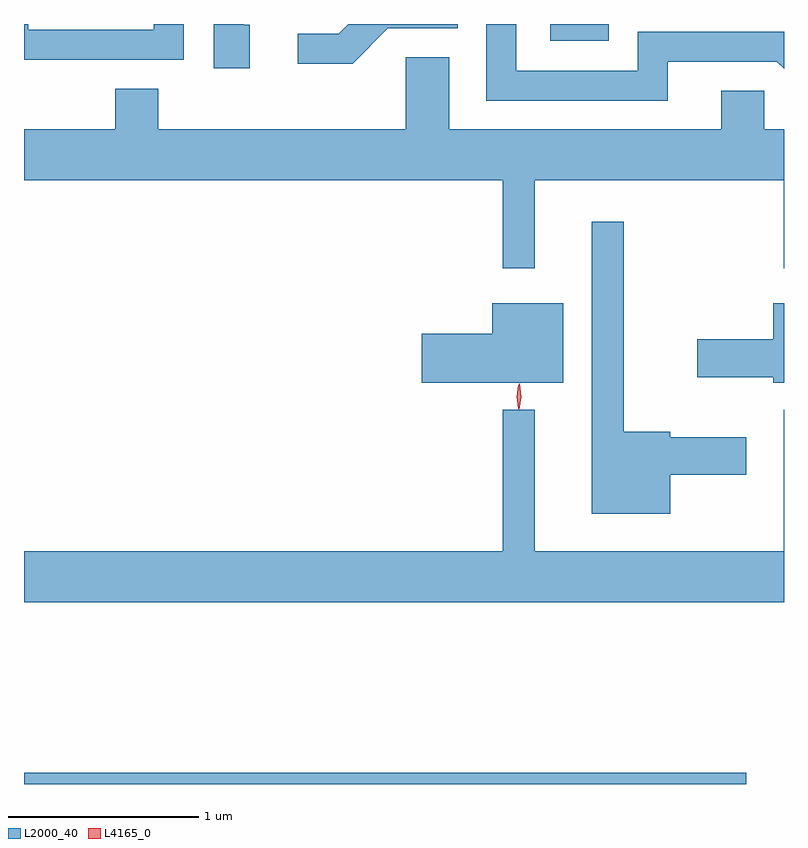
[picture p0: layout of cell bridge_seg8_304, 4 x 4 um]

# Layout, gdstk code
import gdstk
lib = gdstk.Library(unit=1e-6, precision=1e-09)
def R(c, l, rs):  # rectangles x0, y0, x1, y1
    for r in rs: c.add(gdstk.rectangle(r[:2], r[2:], *l))
def P(c, l, *ps):  # polygons
    for p in ps: c.add(gdstk.Polygon(p, *l))
L2000_40 = (2000, 40)
L4165_0 = (4165, 0)

bridge_seg8_304 = lib.new_cell('bridge_seg8_304')
R(bridge_seg8_304, L2000_40, [(1004.262,1908.719,1008.064,1908.779), (1007.031,1912.631,1007.339,1912.719)])
P(bridge_seg8_304, L2000_40, [(1006.177,1912.696),(1006.544,1912.696),(1006.544,1912.719),(1005.969,1912.719),(1005.919,1912.669),(1005.703,1912.669),(1005.703,1912.511),(1005.992,1912.511)],
  [(1005.104,1912.719),(1004.946,1912.719),(1004.946,1912.689),(1004.284,1912.689),(1004.284,1912.719),(1004.262,1912.719),(1004.262,1912.531),(1005.104,1912.531)],
  [(1005.449,1912.714),(1005.419,1912.714),(1005.419,1912.719),(1005.261,1912.719),(1005.261,1912.486),(1005.449,1912.486)],
  [(1007.649,1912.521),(1008.224,1912.521),(1008.262,1912.483),(1008.262,1912.679),(1007.491,1912.679),(1007.491,1912.474),(1006.854,1912.474),(1006.854,1912.719),(1006.696,1912.719),(1006.696,1912.316),(1007.649,1912.316)],
  [(1006.949,1911.896),(1008.261,1911.896),(1008.261,1911.433),(1008.262,1911.433),(1008.262,1912.164),(1008.159,1912.164),(1008.159,1912.369),(1007.931,1912.369),(1007.931,1912.164),(1006.499,1912.164),(1006.499,1912.544),(1006.271,1912.544),(1006.271,1912.164),(1004.969,1912.164),(1004.969,1912.379),(1004.741,1912.379),(1004.741,1912.164),(1004.262,1912.164),(1004.262,1911.896),(1006.781,1911.896),(1006.781,1911.433),(1006.949,1911.433)],
  [(1007.664,1910.346),(1008.064,1910.346),(1008.064,1910.544),(1007.664,1910.544),(1007.664,1910.574),(1007.419,1910.574),(1007.419,1911.678),(1007.251,1911.678),(1007.251,1910.141),(1007.664,1910.141)],
  [(1007.099,1911.249),(1006.726,1911.249),(1006.726,1911.089),(1006.356,1911.089),(1006.356,1910.831),(1007.099,1910.831)],
  [(1008.262,1911.249),(1008.206,1911.249),(1008.206,1911.059),(1007.806,1911.059),(1007.806,1910.861),(1008.206,1910.861),(1008.206,1910.831),(1008.262,1910.831)],
  [(1008.262,1910.688),(1008.261,1910.688),(1008.261,1909.944),(1006.949,1909.944),(1006.949,1910.688),(1006.781,1910.688),(1006.781,1909.944),(1004.262,1909.944),(1004.262,1909.676),(1008.262,1909.676)])
P(bridge_seg8_304, L4165_0, [(1006.868,1910.69),(1006.868,1910.69),(1006.859,1910.758),(1006.869,1910.826),(1006.869,1910.826),(1006.87,1910.826),(1006.879,1910.758),(1006.868,1910.69)],
  [(1006.864,1910.693),(1006.855,1910.756),(1006.864,1910.819),(1006.865,1910.82),(1006.865,1910.819),(1006.875,1910.756),(1006.865,1910.693),(1006.865,1910.693)])

lib.write_gds('bridge_seg8_304.gds')
